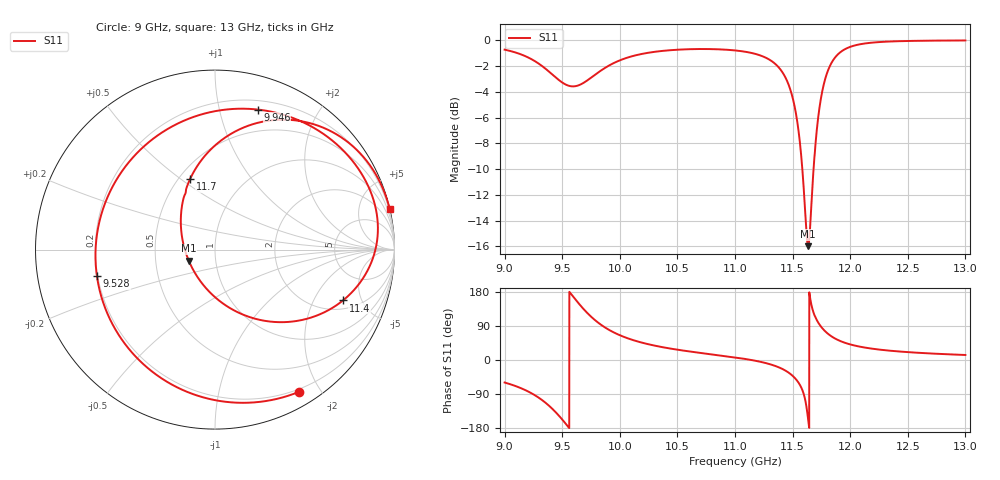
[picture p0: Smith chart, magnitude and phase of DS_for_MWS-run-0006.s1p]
! TOUCHSTONE file generated by CST DESIGN STUDIO
! Date and time: Tue Feb  4 14:21:44 2025
! Project name: C:\Work\MatlabApps\UnitCellOptimizationMatlab\CST\unitcell.cst
! Tree item: Tasks\Sweep1\SPara1\S-Parameters
! Header version: 2024
! Port assignment regex: !\s*Touchstone port\s*([0-9]+)\s*=\s*(CST MWS port|CST DES external port|CST DES block port)\s*(.+)\s* \(\"(.*)\"\)(\s*mode\s*([0-9]+))?.*
! Touchstone port assignment:
! Touchstone port 1 = CST DES external port 1 ("")
# GHz S MA R 50
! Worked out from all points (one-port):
!   4001 points, 9 GHz to 13 GHz, reference 50 ohm
!   lowest |S11| = -16.0 dB at 11.63 GHz (marker M1), VSWR 1.38, Z = 37 - j4.66 ohm
!   |S11| at or under -10 dB: 11.58 GHz to 11.68 GHz (97.31 MHz wide, 0.837 % of centre)
!   S11 on the Smith chart (normalised r, x): 9 GHz: 0.17, -1.74; 9.528 GHz: 0.20, -0.11; 9.946 GHz: 0.28, +1.31; 11.4 GHz: 2.53, -3.48; 11.7 GHz: 0.57, +0.54; 13 GHz: 0.03, +8.61
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9  0.9203 -59.4
9.147  0.8805 -75.0
9.297  0.8116 -99.7
9.398  0.7477 -124.1
9.5  0.6861 -157.0
9.528  0.6744 -167.2
9.621  0.6647 157.4
9.735  0.7078 118.8
9.83  0.7601 94.5
9.946  0.8157 73.1
10  0.8363 65.4
10.215  0.8899 44.0
10.5  0.9197 27.2
11  0.914 6.8
11.245  0.8652 -6.4
11.398  0.767 -21.7
11.5  0.5995 -41.7
11.572  0.3674 -70.6
11.635  0.1587 -157.2
11.668  0.2513 139.3
11.703  0.4161 109.6
11.753  0.6195 85.6
11.807  0.7635 69.2
11.895  0.884 52.6
12  0.9435 41.1
12.192  0.9801 29.8
12.5  0.9945 20.8
13  0.9991 13.2
